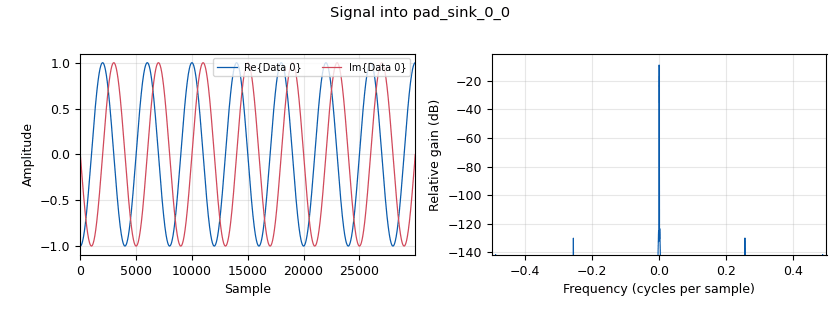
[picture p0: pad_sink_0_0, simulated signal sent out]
<?xml version='1.0' encoding='utf-8'?>
<?grc format='1' created='3.7.9'?>
<flow_graph>
<block>
<key>options</key>
<param><key>id</key><value>b_signal_mult</value></param>
<param><key>author</key><value>Homero Ortega</value></param>
<param><key>category</key><value>comdiguis</value></param>
<param><key>description</key><value>multiplica la entrada por una senoidal compleja, con los siguientes parametros: samp_rate: frecuencia de muesteo en Hz; f: frecuencia de la senoidad en Hz</value></param>
<param><key>generate_options</key><value>hb</value></param>
<param><key>title</key><value>b_signal_mult</value></param>
</block>
<block>
<key>analog_sig_source_x</key>
<param><key>id</key><value>analog_sig_source_x_0</value></param>
<param><key>amp</key><value>1</value></param>
<param><key>freq</key><value>f</value></param>
<param><key>offset</key><value>0</value></param>
<param><key>type</key><value>complex</value></param>
<param><key>samp_rate</key><value>samp_rate</value></param>
<param><key>waveform</key><value>analog.GR_COS_WAVE</value></param>
</block>
<block>
<key>blocks_multiply_xx</key>
<param><key>id</key><value>blocks_multiply_xx_0</value></param>
<param><key>type</key><value>complex</value></param>
</block>
<block>
<key>parameter</key>
<param><key>id</key><value>f</value></param>
<param><key>label</key><value>frec (Hz)</value></param>
<param><key>type</key><value>eng_float</value></param>
<param><key>value</key><value>8</value></param>
</block>
<block>
<key>pad_sink</key>
<param><key>id</key><value>pad_sink_0</value></param>
<param><key>type</key><value>complex</value></param>
<param><key>label</key><value>out</value></param>
</block>
<block>
<key>pad_sink</key>
<param><key>id</key><value>pad_sink_0_0</value></param>
<param><key>type</key><value>complex</value></param>
<param><key>label</key><value>carrier</value></param>
<param><key>optional</key><value>True</value></param>
</block>
<block>
<key>pad_source</key>
<param><key>id</key><value>pad_source_0</value></param>
<param><key>label</key><value>in</value></param>
<param><key>type</key><value>complex</value></param>
</block>
<block>
<key>parameter</key>
<param><key>id</key><value>samp_rate</value></param>
<param><key>label</key><value>samp_rate</value></param>
<param><key>type</key><value>eng_float</value></param>
<param><key>value</key><value>32e3</value></param>
</block>
<connection><source_block_id>analog_sig_source_x_0</source_block_id><sink_block_id>blocks_multiply_xx_0</sink_block_id><source_key>0</source_key><sink_key>0</sink_key></connection>
<connection><source_block_id>analog_sig_source_x_0</source_block_id><sink_block_id>pad_sink_0_0</sink_block_id><source_key>0</source_key><sink_key>0</sink_key></connection>
<connection><source_block_id>blocks_multiply_xx_0</source_block_id><sink_block_id>pad_sink_0</sink_block_id><source_key>0</source_key><sink_key>0</sink_key></connection>
<connection><source_block_id>pad_source_0</source_block_id><sink_block_id>blocks_multiply_xx_0</sink_block_id><source_key>0</source_key><sink_key>1</sink_key></connection>
</flow_graph>
